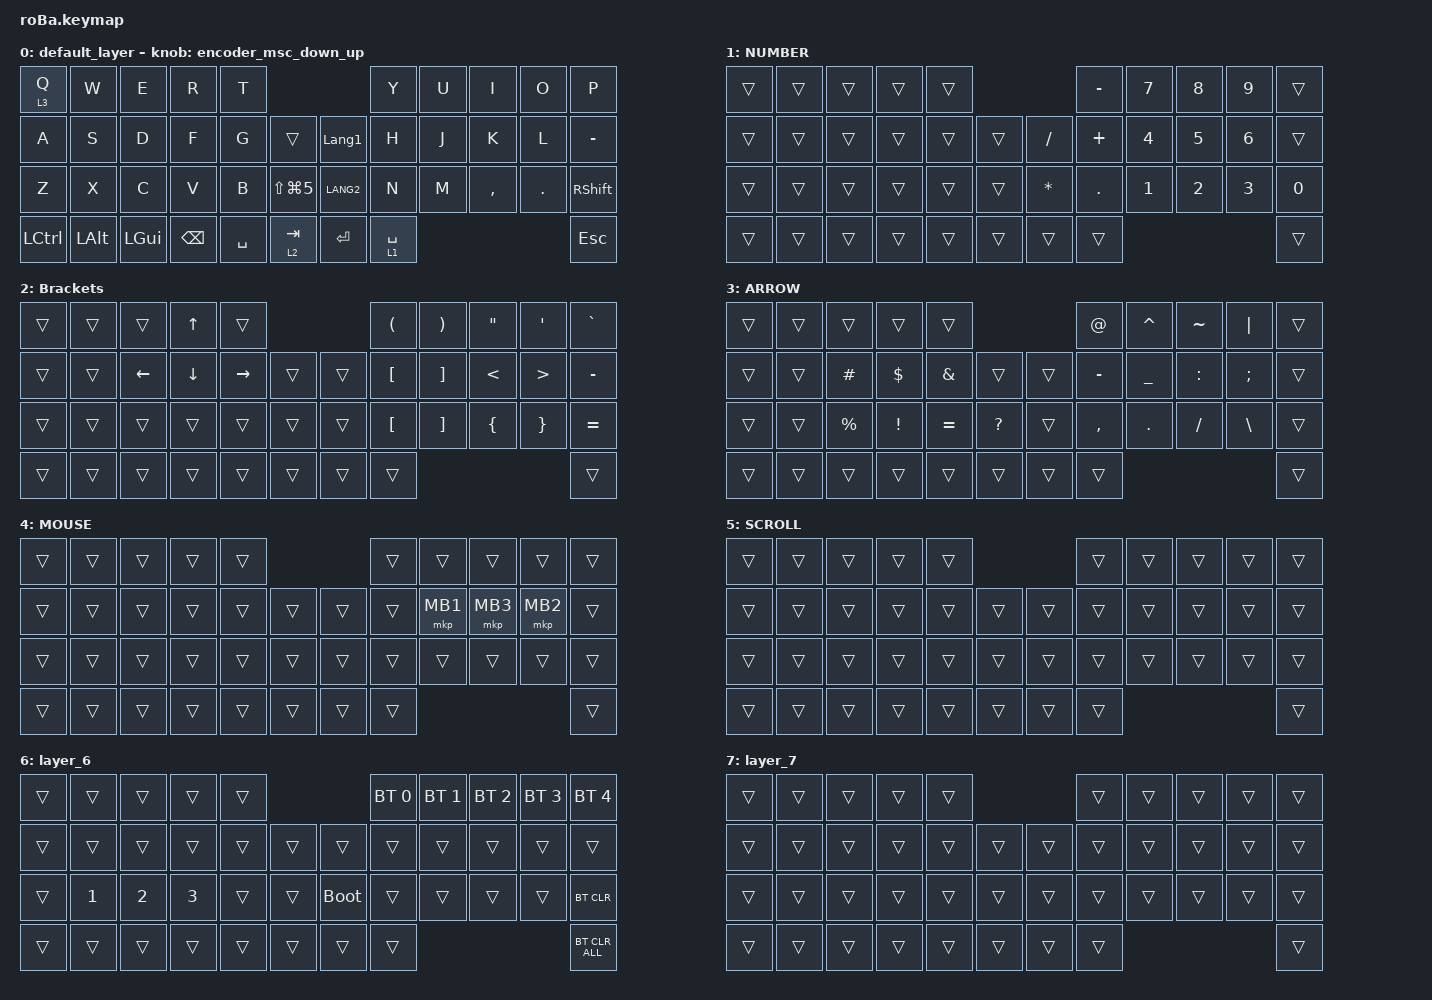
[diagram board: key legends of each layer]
#include <behaviors.dtsi>
#include <dt-bindings/zmk/bt.h>
#include <dt-bindings/zmk/keys.h>
#include <dt-bindings/zmk/pointing.h>

#define ZMK_POINTING_DEFAULT_SCRL_VAL 80

&mt {
    flavor = "balanced";
    quick-tap-ms = <0>;
};

&trackball {
    // automouse-layer = <4>;

    scroll-layers = <5>;

    // arrows {
    //     layers = <3>;
    //     bindings =
    //         <&kp RIGHT_ARROW>,
    //         <&kp LEFT_ARROW>,
    //         <&kp UP_ARROW>,
    //         <&kp DOWN_ARROW>;
    //     tick = <10>;
    //     wait-ms = <5>;
    //     tap-ms = <5>;
    // };
};

/ {
    combos {
        compatible = "zmk,combos";

        tab {
            bindings = <&kp TAB>;
            key-positions = <11 12>;
        };

        shift_tab {
            bindings = <&kp LS(TAB)>;
            key-positions = <12 13>;
        };

        muhennkann {
            bindings = <&to_layer_0 INT_MUHENKAN>;
            key-positions = <11 10>;
        };

        double_quotation {
            bindings = <&kp DOUBLE_QUOTES>;
            key-positions = <20 21>;
        };

        eq {
            bindings = <&kp EQUAL>;
            key-positions = <24 25>;
        };
    };

    macros {
        to_layer_0: to_layer_0 {
            compatible = "zmk,behavior-macro-one-param";
            #binding-cells = <1>;
            bindings = <&to 0 &macro_param_1to1 &kp MACRO_PLACEHOLDER>;
            label = "TO_LAYER_0";
        };
    };

    behaviors {
        lt_to_layer_0: lt_to_layer_0 {
            compatible = "zmk,behavior-hold-tap";
            label = "LAYER_TAP_TO_0";
            bindings = <&mo>, <&to_layer_0>;

            #binding-cells = <2>;
            tapping-term-ms = <200>;
        };

        encoder_msc_down_up: encoder_msc_down_up {
            compatible = "zmk,behavior-sensor-rotate";
            label = "ENCODER_MSC_DOWN_UP";
            #sensor-binding-cells = <0>;
            bindings = <&msc SCRL_DOWN>, <&msc SCRL_UP>;

            tap-ms = <20>;
        };
    };

    keymap {
        compatible = "zmk,keymap";

        default_layer {
            bindings = <
&lt 3 Q           &kp W         &kp E         &kp R          &kp T                                                &kp Y        &kp U  &kp I      &kp O    &kp P
&kp A             &kp S         &kp D         &kp F          &kp G      &trans                    &kp LANGUAGE_1  &kp H        &kp J  &kp K      &kp L    &kp MINUS
&kp Z             &kp X         &kp C         &kp V          &kp B      &kp LS(LG(NUMBER_5))      &kp LANG2       &kp N        &kp M  &kp COMMA  &kp DOT  &kp RSHFT
&kp LEFT_CONTROL  &kp LEFT_ALT  &kp LEFT_GUI  &kp BACKSPACE  &kp SPACE  &lt 2 TAB                 &kp ENTER       &lt 1 SPACE                             &kp ESCAPE
            >;

            sensor-bindings = <&encoder_msc_down_up>;
        };

        NUMBER {
            bindings = <
&trans  &trans  &trans  &trans  &trans                         &kp MINUS  &kp NUMBER_7  &kp NUMBER_8  &kp NUMBER_9  &trans
&trans  &trans  &trans  &trans  &trans  &trans      &kp SLASH  &kp PLUS   &kp NUMBER_4  &kp NUMBER_5  &kp NUMBER_6  &trans
&trans  &trans  &trans  &trans  &trans  &trans      &kp ASTRK  &kp DOT    &kp NUMBER_1  &kp NUMBER_2  &kp NUMBER_3  &kp NUMBER_0
&trans  &trans  &trans  &trans  &trans  &trans      &trans     &trans                                               &trans
            >;
        };

        Brackets {
            bindings = <
&trans  &trans  &trans          &kp UP_ARROW    &trans                               &kp LEFT_PARENTHESIS  &kp RIGHT_PARENTHESIS  &kp DOUBLE_QUOTES  &kp SINGLE_QUOTE  &kp GRAVE
&trans  &trans  &kp LEFT_ARROW  &kp DOWN_ARROW  &kp RIGHT_ARROW  &trans      &trans  &kp LEFT_BRACKET      &kp RIGHT_BRACKET      &kp LESS_THAN      &kp GT            &kp MINUS
&trans  &trans  &trans          &trans          &trans           &trans      &trans  &kp LEFT_BRACKET      &kp RIGHT_BRACKET      &kp LEFT_BRACE     &kp RIGHT_BRACE   &kp EQUAL
&trans  &trans  &trans          &trans          &trans           &trans      &trans  &trans                                                                            &trans
            >;
        };

        ARROW {
            bindings = <
&trans  &trans  &trans       &trans      &trans                               &kp AT     &kp CARET       &kp TILDE  &kp PIPE       &trans
&trans  &trans  &kp HASH     &kp DOLLAR  &kp AMPS   &trans            &trans  &kp MINUS  &kp UNDERSCORE  &kp COLON  &kp SEMICOLON  &trans
&trans  &trans  &kp PERCENT  &kp EXCL    &kp EQUAL  &kp QUESTION      &trans  &kp COMMA  &kp DOT         &kp SLASH  &kp BACKSLASH  &trans
&trans  &trans  &trans       &trans      &trans     &trans            &trans  &trans                                               &trans
            >;
        };

        MOUSE {
            bindings = <
&trans  &trans  &trans  &trans  &trans                      &trans  &trans    &trans    &trans    &trans
&trans  &trans  &trans  &trans  &trans  &trans      &trans  &trans  &mkp MB1  &mkp MB3  &mkp MB2  &trans
&trans  &trans  &trans  &trans  &trans  &trans      &trans  &trans  &trans    &trans    &trans    &trans
&trans  &trans  &trans  &trans  &trans  &trans      &trans  &trans                                &trans
            >;
        };

        SCROLL {
            bindings = <
&trans  &trans  &trans  &trans  &trans                      &trans  &trans  &trans  &trans  &trans
&trans  &trans  &trans  &trans  &trans  &trans      &trans  &trans  &trans  &trans  &trans  &trans
&trans  &trans  &trans  &trans  &trans  &trans      &trans  &trans  &trans  &trans  &trans  &trans
&trans  &trans  &trans  &trans  &trans  &trans      &trans  &trans                          &trans
            >;
        };

        layer_6 {
            bindings = <
&trans  &trans        &trans        &trans        &trans                           &bt BT_SEL 0  &bt BT_SEL 1  &bt BT_SEL 2  &bt BT_SEL 3  &bt BT_SEL 4
&trans  &trans        &trans        &trans        &trans  &trans      &trans       &trans        &trans        &trans        &trans        &trans
&trans  &kp NUMBER_1  &kp NUMBER_2  &kp NUMBER_3  &trans  &trans      &bootloader  &trans        &trans        &trans        &trans        &bt BT_CLR
&trans  &trans        &trans        &trans        &trans  &trans      &trans       &trans                                                  &bt BT_CLR_ALL
            >;
        };

        layer_7 {
            bindings = <
&trans  &trans  &trans  &trans  &trans                      &trans  &trans  &trans  &trans  &trans
&trans  &trans  &trans  &trans  &trans  &trans      &trans  &trans  &trans  &trans  &trans  &trans
&trans  &trans  &trans  &trans  &trans  &trans      &trans  &trans  &trans  &trans  &trans  &trans
&trans  &trans  &trans  &trans  &trans  &trans      &trans  &trans                          &trans
            >;
        };
    };
};
